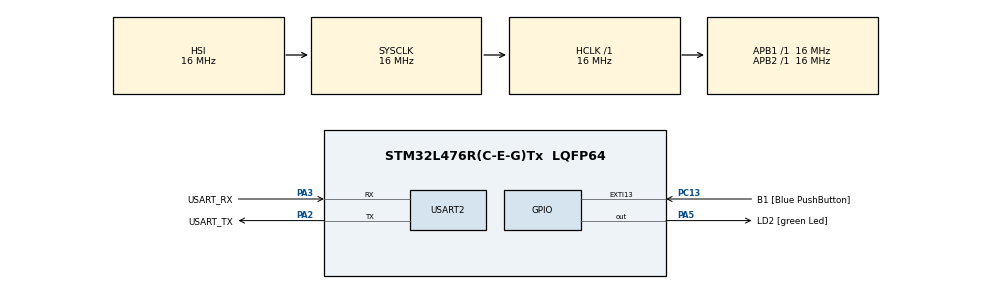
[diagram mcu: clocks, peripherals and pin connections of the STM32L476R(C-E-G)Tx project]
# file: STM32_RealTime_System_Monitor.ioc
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ADC1.Channel-0\#ChannelRegularConversion=ADC_CHANNEL_TEMPSENSOR
ADC1.Channel-1\#ChannelRegularConversion=ADC_CHANNEL_VREFINT
ADC1.ClockPrescaler=ADC_CLOCK_SYNC_PCLK_DIV4
ADC1.NbrOfConversion=2
ADC1.NbrOfConversionFlag=1
ADC1.OffsetNumber-0\#ChannelRegularConversion=ADC_OFFSET_NONE
ADC1.OffsetNumber-1\#ChannelRegularConversion=ADC_OFFSET_NONE
ADC1.Rank-0\#ChannelRegularConversion=1
ADC1.Rank-1\#ChannelRegularConversion=2
ADC1.SamplingTime-0\#ChannelRegularConversion=ADC_SAMPLETIME_640CYCLES_5
ADC1.SamplingTime-1\#ChannelRegularConversion=ADC_SAMPLETIME_640CYCLES_5
ADC1.master=1
Dma.ADC1.0.Direction=DMA_PERIPH_TO_MEMORY
Dma.ADC1.0.Instance=DMA1_Channel1
Dma.ADC1.0.MemDataAlignment=DMA_MDATAALIGN_HALFWORD
Dma.ADC1.0.MemInc=DMA_MINC_ENABLE
Dma.ADC1.0.Mode=DMA_NORMAL
Dma.ADC1.0.PeriphDataAlignment=DMA_PDATAALIGN_HALFWORD
Dma.ADC1.0.PeriphInc=DMA_PINC_DISABLE
Dma.ADC1.0.Priority=DMA_PRIORITY_LOW
Dma.Request0=ADC1
FREERTOS.Tasks01=defaultTask,24,256,StartDefaultTask,Default,NULL,Dynamic,NULL,NULL
FREERTOS.configTOTAL_HEAP_SIZE=16384
Mcu.Family=STM32L4
Mcu.Name=STM32L476R(C-E-G)Tx
Mcu.Package=LQFP64
NVIC.DMA1_Channel1_IRQn=true\:5\:0\:true\:false\:true\:true\:false\:true\:true
NVIC.PriorityGroup=NVIC_PRIORITYGROUP_4
NVIC.TIM6_DAC_IRQn=true\:15\:0\:false\:false\:true\:false\:false\:true\:true
NVIC.TimeBase=TIM6_DAC_IRQn
NVIC.TimeBaseIP=TIM6
NVIC.USART2_IRQn=true\:5\:0\:false\:false\:true\:true\:true\:true\:true
PA13\ (JTMS-SWDIO).GPIO_Label=TMS
PA13\ (JTMS-SWDIO).Mode=Serial_Wire
PA13\ (JTMS-SWDIO).Signal=SYS_JTMS-SWDIO
PA14\ (JTCK-SWCLK).GPIO_Label=TCK
PA14\ (JTCK-SWCLK).Mode=Serial_Wire
PA14\ (JTCK-SWCLK).Signal=SYS_JTCK-SWCLK
PA2.GPIO_Label=USART_TX
PA2.GPIO_Mode=GPIO_MODE_AF_PP
PA2.GPIO_PuPd=GPIO_NOPULL
PA2.GPIO_Speed=GPIO_SPEED_FREQ_VERY_HIGH
PA2.Mode=Asynchronous
PA2.Signal=USART2_TX
PA3.GPIO_Label=USART_RX
PA3.GPIO_Mode=GPIO_MODE_AF_PP
PA3.GPIO_PuPd=GPIO_NOPULL
PA3.GPIO_Speed=GPIO_SPEED_FREQ_VERY_HIGH
PA3.Mode=Asynchronous
PA3.Signal=USART2_RX
PA5.GPIO_Label=LD2 [green Led]
PA5.GPIO_ModeDefaultOutputPP=GPIO_MODE_OUTPUT_PP
PA5.GPIO_PuPd=GPIO_NOPULL
PA5.GPIO_Speed=GPIO_SPEED_FREQ_LOW
PA5.Signal=GPIO_Output
PB3\ (JTDO-TRACESWO).GPIO_Label=SWO
PB3\ (JTDO-TRACESWO).Signal=SYS_JTDO-SWO
PC13.GPIO_Label=B1 [Blue PushButton]
PC13.GPIO_ModeDefaultEXTI=GPIO_MODE_IT_FALLING
PC13.GPIO_PuPd=GPIO_NOPULL
PC13.Signal=GPXTI13
PC14-OSC32_IN\ (PC14).Mode=LSE-External-Oscillator
PC14-OSC32_IN\ (PC14).Signal=RCC_OSC32_IN
PC15-OSC32_OUT\ (PC15).Mode=LSE-External-Oscillator
PC15-OSC32_OUT\ (PC15).Signal=RCC_OSC32_OUT
PH0-OSC_IN\ (PH0).Signal=RCC_OSC_IN
PH1-OSC_OUT\ (PH1).Signal=RCC_OSC_OUT
ProjectManager.HeapSize=0x200
ProjectManager.StackSize=0x400
ProjectManager.TargetToolchain=STM32CubeIDE
RCC.ADCFreq_Value=64000000
RCC.AHBFreq_Value=16000000
RCC.APB1Freq_Value=16000000
RCC.APB1TimFreq_Value=16000000
RCC.APB2Freq_Value=16000000
RCC.APB2TimFreq_Value=16000000
RCC.CortexFreq_Value=16000000
RCC.HCLKFreq_Value=16000000
RCC.HSE_VALUE=8000000
RCC.HSI_VALUE=16000000
RCC.MSI_VALUE=4000000
RCC.PLLN=10
RCC.PLLSourceVirtual=RCC_PLLSOURCE_HSI
RCC.PREFETCH_ENABLE=1
RCC.SYSCLKFreq_VALUE=16000000
RCC.SYSCLKSource=RCC_SYSCLKSOURCE_HSI
RCC.USBFreq_Value=64000000
RCC.VCOOutputFreq_Value=160000000
USART2.VirtualMode-Asynchronous=VM_ASYNC
VP_ADC1_TempSens_Input.Mode=IN-TempSens
VP_ADC1_Vref_Input.Mode=IN-Vrefint
VP_FREERTOS_VS_CMSIS_V2.Mode=CMSIS_V2
VP_SYS_VS_tim6.Mode=TIM6
board=NUCLEO-L476RG

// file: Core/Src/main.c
/* USER CODE BEGIN Header */
/**
  ******************************************************************************
  * @file           : main.c
  * @brief          : Main program body
  ******************************************************************************
  * @attention
  *
  * Copyright (c) 2026 STMicroelectronics.
  * All rights reserved.
  *
  * This software is licensed under terms that can be found in the LICENSE file
  * in the root directory of this software component.
  * If no LICENSE file comes with this software, it is provided AS-IS.
  *
  ******************************************************************************
  */
/* USER CODE END Header */
#include "main.h"
#include "cmsis_os.h"

/* USER CODE BEGIN Includes */
#include <stdio.h>
#include <stdint.h>
#include <string.h>
/* USER CODE END Includes */

/* USER CODE BEGIN PTD */

typedef struct
{
    float temperature_c;
    uint32_t vdda_mv;

} monitor_measurement_t;

/* USER CODE END PTD */

/* USER CODE BEGIN PD */

#define MONITOR_ADC_DONE_FLAG   (1U << 0)
#define MONITOR_ADC_ERROR_FLAG  (1U << 1)

/* USER CODE END PD */

ADC_HandleTypeDef hadc1;
DMA_HandleTypeDef hdma_adc1;

UART_HandleTypeDef huart2;

/* Definitions for defaultTask */
osThreadId_t defaultTaskHandle;
const osThreadAttr_t defaultTask_attributes = {
  .name = "defaultTask",
  .stack_size = 256 * 4,
  .priority = (osPriority_t) osPriorityNormal,
};
/* USER CODE BEGIN PV */

/* ADC measurement buffer:
   [0] = Temperature sensor
   [1] = VREFINT
*/
uint16_t adc_buffer[2] = {0};

/* Queue for transferring measurements. */
osMessageQueueId_t measurementQueueHandle;

/* Mutex to protect USART2 transmission. */
osMutexId_t uartMutexHandle;

/* Handle for the telemetry task. */
osThreadId_t telemetryTaskHandle;

/* Telemetry task configuration. */
const osThreadAttr_t telemetryTask_attributes =
{
    .name = "telemetryTask",
    .stack_size = 1024,
    .priority = (osPriority_t)osPriorityBelowNormal
};

/* USER CODE END PV */

void SystemClock_Config(void);
static void MX_GPIO_Init(void);
static void MX_DMA_Init(void);
static void MX_USART2_UART_Init(void);
static void MX_ADC1_Init(void);
void StartDefaultTask(void *argument);

/* USER CODE BEGIN PFP */

HAL_StatusTypeDef Monitor_ADC_Init(void);
HAL_StatusTypeDef Monitor_ADC_Start(void);

void Monitor_ADC_Convert(float *temperature,
                         uint32_t *vdda_mv);

static void StartTelemetryTask(void *argument);

static void Monitor_UART_Send(const char *message);

/* USER CODE END PFP */

int main(void)
{

  /* MCU Configuration--------------------------------------------------------*/

  /* Reset of all peripherals, Initializes the Flash interface and the Systick. */
  HAL_Init();

  /* Configure the system clock */
  SystemClock_Config();

  /* Initialize all configured peripherals */
  MX_GPIO_Init();
  MX_DMA_Init();
  MX_USART2_UART_Init();
  MX_ADC1_Init();
  /* USER CODE BEGIN 2 */

  /* Calibrate ADC1 before starting the scheduler. */
  if (Monitor_ADC_Init() != HAL_OK)
  {
      Error_Handler();
  }

  /* Give internal analog circuitry time to settle. */
  HAL_Delay(10);
  /* USER CODE END 2 */

  /* Init scheduler */
  osKernelInitialize();

  /* USER CODE BEGIN RTOS_MUTEX */
  /* add mutexes, ... */

  uartMutexHandle = osMutexNew(NULL);

  if (uartMutexHandle == NULL)
  {
      Error_Handler();
  }

  /* USER CODE END RTOS_MUTEX */

  /* USER CODE BEGIN RTOS_QUEUES */
  /* add queues, ... */

  measurementQueueHandle = osMessageQueueNew(
      8,
      sizeof(monitor_measurement_t),
      NULL
  );

  if (measurementQueueHandle == NULL)
  {
      Error_Handler();
  }

  /* USER CODE END RTOS_QUEUES */

  /* Create the thread(s) */
  /* creation of defaultTask */
  defaultTaskHandle = osThreadNew(StartDefaultTask, NULL, &defaultTask_attributes);

  /* USER CODE BEGIN RTOS_THREADS */
  /* add threads, ... */

  telemetryTaskHandle = osThreadNew(
      StartTelemetryTask,
      NULL,
      &telemetryTask_attributes
  );

  if (telemetryTaskHandle == NULL)
  {
      Error_Handler();
  }

  /* USER CODE END RTOS_THREADS */

  /* Start scheduler */
  osKernelStart();

  /* We should never get here as control is now taken by the scheduler */

  /* Infinite loop */
  while (1)
  {

  }
}

void SystemClock_Config(void)
{
  RCC_OscInitTypeDef RCC_OscInitStruct = {0};
  RCC_ClkInitTypeDef RCC_ClkInitStruct = {0};

  /** Configure the main internal regulator output voltage
  */
  if (HAL_PWREx_ControlVoltageScaling(PWR_REGULATOR_VOLTAGE_SCALE1) != HAL_OK)
  {
    Error_Handler();
  }

  /** Initializes the RCC Oscillators according to the specified parameters
  * in the RCC_OscInitTypeDef structure.
  */
  RCC_OscInitStruct.OscillatorType = RCC_OSCILLATORTYPE_HSI;
  RCC_OscInitStruct.HSIState = RCC_HSI_ON;
  RCC_OscInitStruct.HSICalibrationValue = RCC_HSICALIBRATION_DEFAULT;
  RCC_OscInitStruct.PLL.PLLState = RCC_PLL_NONE;
  if (HAL_RCC_OscConfig(&RCC_OscInitStruct) != HAL_OK)
  {
    Error_Handler();
  }

  /** Initializes the CPU, AHB and APB buses clocks
  */
  RCC_ClkInitStruct.ClockType = RCC_CLOCKTYPE_HCLK|RCC_CLOCKTYPE_SYSCLK
                              |RCC_CLOCKTYPE_PCLK1|RCC_CLOCKTYPE_PCLK2;
  RCC_ClkInitStruct.SYSCLKSource = RCC_SYSCLKSOURCE_HSI;
  RCC_ClkInitStruct.AHBCLKDivider = RCC_SYSCLK_DIV1;
  RCC_ClkInitStruct.APB1CLKDivider = RCC_HCLK_DIV1;
  RCC_ClkInitStruct.APB2CLKDivider = RCC_HCLK_DIV1;

  if (HAL_RCC_ClockConfig(&RCC_ClkInitStruct, FLASH_LATENCY_0) != HAL_OK)
  {
    Error_Handler();
  }
}

static void MX_ADC1_Init(void)
{

  ADC_MultiModeTypeDef multimode = {0};
  ADC_ChannelConfTypeDef sConfig = {0};

  /** Common config
  */
  hadc1.Instance = ADC1;
  hadc1.Init.ClockPrescaler = ADC_CLOCK_SYNC_PCLK_DIV4;
  hadc1.Init.Resolution = ADC_RESOLUTION_12B;
  hadc1.Init.DataAlign = ADC_DATAALIGN_RIGHT;
  hadc1.Init.ScanConvMode = ADC_SCAN_ENABLE;
  hadc1.Init.EOCSelection = ADC_EOC_SINGLE_CONV;
  hadc1.Init.LowPowerAutoWait = DISABLE;
  hadc1.Init.ContinuousConvMode = DISABLE;
  hadc1.Init.NbrOfConversion = 2;
  hadc1.Init.DiscontinuousConvMode = DISABLE;
  hadc1.Init.ExternalTrigConv = ADC_SOFTWARE_START;
  hadc1.Init.ExternalTrigConvEdge = ADC_EXTERNALTRIGCONVEDGE_NONE;
  hadc1.Init.DMAContinuousRequests = DISABLE;
  hadc1.Init.Overrun = ADC_OVR_DATA_PRESERVED;
  hadc1.Init.OversamplingMode = DISABLE;
  if (HAL_ADC_Init(&hadc1) != HAL_OK)
  {
    Error_Handler();
  }

  /** Configure the ADC multi-mode
  */
  multimode.Mode = ADC_MODE_INDEPENDENT;
  if (HAL_ADCEx_MultiModeConfigChannel(&hadc1, &multimode) != HAL_OK)
  {
    Error_Handler();
  }

  /** Configure Regular Channel
  */
  sConfig.Channel = ADC_CHANNEL_TEMPSENSOR;
  sConfig.Rank = ADC_REGULAR_RANK_1;
  sConfig.SamplingTime = ADC_SAMPLETIME_640CYCLES_5;
  sConfig.SingleDiff = ADC_SINGLE_ENDED;
  sConfig.OffsetNumber = ADC_OFFSET_NONE;
  sConfig.Offset = 0;
  if (HAL_ADC_ConfigChannel(&hadc1, &sConfig) != HAL_OK)
  {
    Error_Handler();
  }

  /** Configure Regular Channel
  */
  sConfig.Channel = ADC_CHANNEL_VREFINT;
  sConfig.Rank = ADC_REGULAR_RANK_2;
  if (HAL_ADC_ConfigChannel(&hadc1, &sConfig) != HAL_OK)
  {
    Error_Handler();
  }

}

static void MX_USART2_UART_Init(void)
{

  huart2.Instance = USART2;
  huart2.Init.BaudRate = 115200;
  huart2.Init.WordLength = UART_WORDLENGTH_8B;
  huart2.Init.StopBits = UART_STOPBITS_1;
  huart2.Init.Parity = UART_PARITY_NONE;
  huart2.Init.Mode = UART_MODE_TX_RX;
  huart2.Init.HwFlowCtl = UART_HWCONTROL_NONE;
  huart2.Init.OverSampling = UART_OVERSAMPLING_16;
  huart2.Init.OneBitSampling = UART_ONE_BIT_SAMPLE_DISABLE;
  huart2.AdvancedInit.AdvFeatureInit = UART_ADVFEATURE_NO_INIT;
  if (HAL_UART_Init(&huart2) != HAL_OK)
  {
    Error_Handler();
  }

}

static void MX_DMA_Init(void)
{

  /* DMA controller clock enable */
  __HAL_RCC_DMA1_CLK_ENABLE();

  /* DMA interrupt init */
  /* DMA1_Channel1_IRQn interrupt configuration */
  HAL_NVIC_SetPriority(DMA1_Channel1_IRQn, 5, 0);
  HAL_NVIC_EnableIRQ(DMA1_Channel1_IRQn);

}

static void MX_GPIO_Init(void)
{
  GPIO_InitTypeDef GPIO_InitStruct = {0};

  /* GPIO Ports Clock Enable */
  __HAL_RCC_GPIOC_CLK_ENABLE();
  __HAL_RCC_GPIOH_CLK_ENABLE();
  __HAL_RCC_GPIOA_CLK_ENABLE();
  __HAL_RCC_GPIOB_CLK_ENABLE();

  /*Configure GPIO pin Output Level */
  HAL_GPIO_WritePin(LD2_GPIO_Port, LD2_Pin, GPIO_PIN_RESET);

  /*Configure GPIO pin : B1_Pin */
  GPIO_InitStruct.Pin = B1_Pin;
  GPIO_InitStruct.Mode = GPIO_MODE_IT_FALLING;
  GPIO_InitStruct.Pull = GPIO_NOPULL;
  HAL_GPIO_Init(B1_GPIO_Port, &GPIO_InitStruct);

  /*Configure GPIO pin : LD2_Pin */
  GPIO_InitStruct.Pin = LD2_Pin;
  GPIO_InitStruct.Mode = GPIO_MODE_OUTPUT_PP;
  GPIO_InitStruct.Pull = GPIO_NOPULL;
  GPIO_InitStruct.Speed = GPIO_SPEED_FREQ_LOW;
  HAL_GPIO_Init(LD2_GPIO_Port, &GPIO_InitStruct);

}

/* USER CODE BEGIN 4 */

/* Initialize and calibrate ADC1 once. */
HAL_StatusTypeDef Monitor_ADC_Init(void)
{
    return HAL_ADCEx_Calibration_Start(
        &hadc1,
        ADC_SINGLE_ENDED
    );
}

/* Start one ADC sequence using DMA. */
HAL_StatusTypeDef Monitor_ADC_Start(void)
{
    return HAL_ADC_Start_DMA(
        &hadc1,
        (uint32_t *)adc_buffer,
        2
    );
}

/* Called when the DMA transfer is complete. */
void HAL_ADC_ConvCpltCallback(ADC_HandleTypeDef *hadc)
{
    if (hadc->Instance == ADC1)
    {
    	if (defaultTaskHandle != NULL)
		{
			osThreadFlagsSet(
				defaultTaskHandle,
				MONITOR_ADC_DONE_FLAG
			);
		}
    }
}

/* Called if an ADC error occurs. */
void HAL_ADC_ErrorCallback(ADC_HandleTypeDef *hadc)
{
    if (hadc->Instance == ADC1)
    {
    	if (defaultTaskHandle != NULL)
		{
			osThreadFlagsSet(
				defaultTaskHandle,
				MONITOR_ADC_ERROR_FLAG
			);
		}
    }
}

/* Convert raw ADC readings into engineering units. */
void Monitor_ADC_Convert(float *temperature,
                         uint32_t *vdda_mv)
{
    uint32_t raw_temp = adc_buffer[0];
    uint32_t raw_vref = adc_buffer[1];

    if (raw_vref == 0U)
    {
        *temperature = 0.0f;
        *vdda_mv = 0U;
        return;
    }

    /* Estimate analog supply voltage in millivolts. */
    *vdda_mv =
        __HAL_ADC_CALC_VREFANALOG_VOLTAGE(
            raw_vref,
            ADC_RESOLUTION_12B
        );

    /* Calculate internal die temperature in Celsius. */
    *temperature =
        (float)__HAL_ADC_CALC_TEMPERATURE(
            *vdda_mv,
            raw_temp,
            ADC_RESOLUTION_12B
        );
}

static void Monitor_UART_Send(const char *message)
{
    if (message == NULL)
    {
        return;
    }

    /* Wait until UART is available. */
    if (osMutexAcquire(
            uartMutexHandle,
            osWaitForever) == osOK)
    {
        /* Transmit the message. */
        HAL_UART_Transmit(
            &huart2,
            (uint8_t *)message,
            (uint16_t)strlen(message),
            200
        );

        /* Release UART for other tasks. */
        osMutexRelease(uartMutexHandle);
    }
}

static void StartTelemetryTask(void *argument)
{
    monitor_measurement_t measurement;

    char tx_buffer[128];

    const char startup_msg[] =
        "\r\nSTM32 Real-Time System Monitor\r\n"
        "ADC + DMA + FreeRTOS + UART\r\n"
        "Multitasking initialized.\r\n\r\n";

    Monitor_UART_Send(startup_msg);

    for (;;)
    {
        /*
         * Wait for a measurement from Sensor Task.
         */
        if (osMessageQueueGet(
                measurementQueueHandle,
                &measurement,
                NULL,
                osWaitForever) == osOK)
        {
            /*
             * Convert temperature into tenths
             * of a degree.
             */
            int32_t temp_tenths =
                (int32_t)(measurement.temperature_c
                          * 10.0f);

            int32_t temp_abs =
                (temp_tenths < 0) ?
                -temp_tenths : temp_tenths;

            /*
             * Format the telemetry message.
             */
            int len = snprintf(
                tx_buffer,
                sizeof(tx_buffer),
                "TEMP=%s%ld.%ld C, VDDA=%lu mV\r\n",
                (temp_tenths < 0) ? "-" : "",
                (long)(temp_abs / 10),
                (long)(temp_abs % 10),
                (unsigned long)measurement.vdda_mv
            );

            /*
             * Transmit only if formatting succeeded.
             */
            if ((len > 0) &&
                ((size_t)len < sizeof(tx_buffer)))
            {
                Monitor_UART_Send(tx_buffer);
            }
        }
    }
}

/* USER CODE END 4 */

void StartDefaultTask(void *argument)
{
  /* USER CODE BEGIN 5 */

	monitor_measurement_t measurement;

	for (;;)
	{
	    /*
	     * Clear any previous ADC notification flags.
	     */
	    osThreadFlagsClear(
	        MONITOR_ADC_DONE_FLAG |
	        MONITOR_ADC_ERROR_FLAG
	    );

	    /*
	     * Start ADC acquisition using DMA.
	     */
	    if (Monitor_ADC_Start() != HAL_OK)
	    {
	        Monitor_UART_Send(
	            "ERROR: ADC start failed\r\n"
	        );

	        osDelay(1000);
	        continue;
	    }

	    /*
	     * Wait for DMA completion or ADC error.
	     *
	     * Timeout = 100 RTOS ticks.
	     */
	    uint32_t flags = osThreadFlagsWait(
	        MONITOR_ADC_DONE_FLAG |
	        MONITOR_ADC_ERROR_FLAG,
	        osFlagsWaitAny,
	        100
	    );

	    /*
	     * Check whether the wait failed or timed out.
	     */
	    if ((flags & osFlagsError) != 0U)
	    {
	        HAL_ADC_Stop_DMA(&hadc1);

	        Monitor_UART_Send(
	            "ERROR: ADC notification timeout\r\n"
	        );

	        osDelay(1000);
	        continue;
	    }

	    /*
	     * Check whether the ADC reported an error.
	     */
	    if ((flags & MONITOR_ADC_ERROR_FLAG) != 0U)
	    {
	        HAL_ADC_Stop_DMA(&hadc1);

	        Monitor_UART_Send(
	            "ERROR: ADC conversion failed\r\n"
	        );

	        osDelay(1000);
	        continue;
	    }

	    /*
	     * Check that DMA completed successfully.
	     */
	    if ((flags & MONITOR_ADC_DONE_FLAG) != 0U)
	    {
	        /*
	         * Stop the completed one-shot DMA.
	         */
	        HAL_ADC_Stop_DMA(&hadc1);

	        /*
	         * Convert raw ADC values.
	         */
	        Monitor_ADC_Convert(
	            &measurement.temperature_c,
	            &measurement.vdda_mv
	        );

	        /*
	         * Check for invalid reference measurement.
	         */
	        if (measurement.vdda_mv == 0U)
	        {
	            Monitor_UART_Send(
	                "ERROR: Invalid VREFINT reading\r\n"
	            );
	        }
	        else
	        {
	            /*
	             * Send measurement to Telemetry Task.
	             */
	            if (osMessageQueuePut(
	                    measurementQueueHandle,
	                    &measurement,
	                    0,
	                    10) != osOK)
	            {
	                Monitor_UART_Send(
	                    "ERROR: Measurement queue full\r\n"
	                );
	            }
	        }

	        /*
	         * Toggle onboard LED.
	         */
	        HAL_GPIO_TogglePin(
	            LD2_GPIO_Port,
	            LD2_Pin
	        );
	    }

	    /*
	     * Wait one second before next acquisition.
	     */
	    osDelay(1000);
	}

  /* USER CODE END 5 */
}

void HAL_TIM_PeriodElapsedCallback(TIM_HandleTypeDef *htim)
{
  if (htim->Instance == TIM6)
  {
    HAL_IncTick();
  }
}

void Error_Handler(void)
{
  __disable_irq();
  while (1)
  {
  }
}
